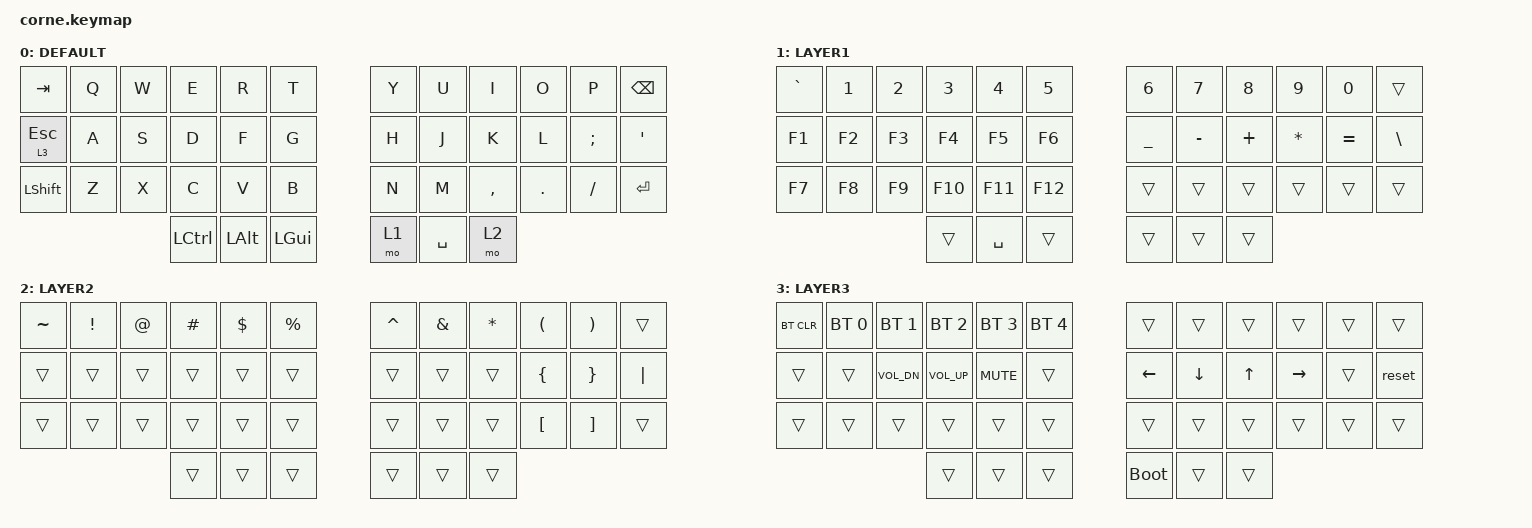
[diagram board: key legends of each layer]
/*
 * Copyright (c) 2020 The ZMK Contributors
 *
 * SPDX-License-Identifier: MIT
 */

#include <behaviors.dtsi>
#include <dt-bindings/zmk/keys.h>
#include <dt-bindings/zmk/bt.h>
#include <dt-bindings/zmk/rgb.h>
#include <dt-bindings/zmk/ext_power.h>

#define DEFAULT 0
#define LAYER1 1
#define LAYER2 2
#define LAYER3 3

/ {
        keymap {
                compatible = "zmk,keymap";

                DEFAULT {
// -----------------------------------------------------------------------------------------
// |  TAB    |  Q  |  W  |  E  |  R  |  T  |   |  Y  |  U   |  I  |  O  |  P  | BKSP |
// |  ESC/L3 |  A  |  S  |  D  |  F  |  G  |   |  H  |  J   |  K  |  L  |  ;  |  '   |
// |  SHFT   |  Z  |  X  |  C  |  V  |  B  |   |  N  |  M   |  ,  |  .  |  /  |  ENT |
//                       | CTL | ALT | GUI |   |  L1 |  SPC | L2  |
                        bindings = <
   &kp TAB    &kp Q  &kp W  &kp E  &kp R  &kp T    &kp Y  &kp U   &kp I     &kp O   &kp P    &kp BSPC
   &lt 3 ESC  &kp A  &kp S  &kp D  &kp F  &kp G    &kp H  &kp J   &kp K     &kp L   &kp SEMI &kp SQT
   &kp LSHFT  &kp Z  &kp X  &kp C  &kp V  &kp B    &kp N  &kp M   &kp COMMA &kp DOT &kp FSLH &kp RET
                      &kp LCTRL &kp LALT &kp LGUI  &mo 1  &kp SPC &mo 2
                        >;
                };

                LAYER1 {
// -----------------------------------------------------------------------------------------
// |  `  |  1  |  2  |  3   |  4   |  5   |   |  6  |  7  |  8  |  9  |  0  |     |
// |  F1 |  F2 |  F3 |  F4  |  F5  |  F6  |   |     |  -  |  +  |  *  |  =  |  \  |
// |  F7 |  F8 |  F9 |  F10 |  F11 |  F12 |   |     |     |     |     |     |     |
//                   |      |      |      |   |     |     |     |
                        bindings = <
   &kp GRAVE  &kp N1  &kp N2  &kp N3   &kp N4   &kp N5     &kp N6    &kp N7    &kp N8   &kp N9     &kp N0     &trans
   &kp F1     &kp F2  &kp F3  &kp F4   &kp F5   &kp F6     &kp UNDER &kp MINUS &kp PLUS &kp ASTRK  &kp EQUAL  &kp BSLH
   &kp F7     &kp F8  &kp F9  &kp F10  &kp F11  &kp F12    &trans    &trans    &trans   &trans     &trans     &trans
                              &trans   &kp SPC  &trans    &trans    &trans    &trans
                        >;
                };

                LAYER2 {
// -----------------------------------------------------------------------------------------
// |  ~  |  !  |  @  |  #  |  $  |  %  |   |  ^  |  &  |  *  |  (  |  )  |   |
// |     |     |     |     |     |     |   |     |     |     |  {  |  }  |   |
// |     |     |     |     |     |     |   |     |     |     |  [  |  ]  |          |
//                   |     |     |     |   |     |     |     |
                        bindings = <
   &kp TILDE  &kp EXCL  &kp AT  &kp HASH  &kp DLLR  &kp PRCNT     &kp CARET &kp AMPS &kp ASTRK &kp LPAR &kp RPAR &trans
   &trans     &trans    &trans  &trans    &trans    &trans        &trans    &trans   &trans    &kp LBRC &kp RBRC &kp PIPE
   &trans     &trans    &trans  &trans    &trans    &trans        &trans    &trans   &trans    &kp LBKT &kp RBKT &trans
                                &trans    &trans    &trans        &trans    &trans   &trans
                        >;
                };

                LAYER3 {
// -----------------------------------------------------------------------------------------
// | BTCLR | BT1 | BT2  | BT3  | BT4  | BT5 |   |       |     |      |     |     |       |
// |       |     | VOLD | VOLU | MUTE |     |   | LFT   | DWN |  UP  | RGT |     | RESET |
// |       |     |      |      |      |     |   |       |     |      |     |     |       |
//                      |      |      |     |   | BTLDR |     |      |
                        bindings = <
   &bt BT_CLR &bt BT_SEL 0 &bt BT_SEL 1 &bt BT_SEL 2 &bt BT_SEL 3 &bt BT_SEL 4    &trans      &trans    &trans  &trans    &trans &trans
   &trans     &trans       &kp C_VOL_DN &kp C_VOL_UP &kp K_MUTE   &trans          &kp LEFT    &kp DOWN  &kp UP  &kp RIGHT &trans &reset
   &trans     &trans       &trans       &trans       &trans       &trans          &trans      &trans    &trans  &trans    &trans &trans
                                        &trans       &trans       &trans          &bootloader &trans    &trans
                        >;
                };
        };
};
